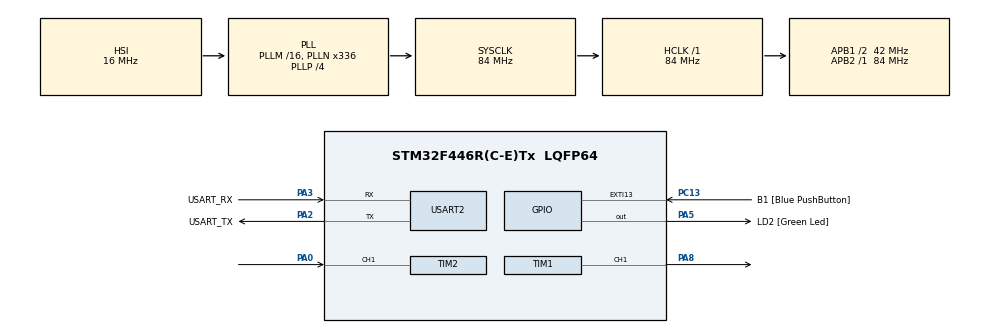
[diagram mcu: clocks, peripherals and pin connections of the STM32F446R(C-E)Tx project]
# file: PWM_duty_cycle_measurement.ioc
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Mcu.Family=STM32F4
Mcu.Name=STM32F446R(C-E)Tx
Mcu.Package=LQFP64
NVIC.PriorityGroup=NVIC_PRIORITYGROUP_0
NVIC.TIM2_IRQn=true\:0\:0\:false\:false\:true\:true\:true\:true
PA0-WKUP.Signal=S_TIM2_CH1_ETR
PA13.GPIO_Label=TMS
PA13.Mode=Serial_Wire
PA13.Signal=SYS_JTMS-SWDIO
PA14.GPIO_Label=TCK
PA14.Mode=Serial_Wire
PA14.Signal=SYS_JTCK-SWCLK
PA2.GPIO_Label=USART_TX
PA2.Mode=Asynchronous
PA2.Signal=USART2_TX
PA3.GPIO_Label=USART_RX
PA3.Mode=Asynchronous
PA3.Signal=USART2_RX
PA5.GPIO_Label=LD2 [Green Led]
PA5.Signal=GPIO_Output
PA8.Signal=S_TIM1_CH1
PB3.GPIO_Label=SWO
PB3.Signal=SYS_JTDO-SWO
PC13.GPIO_Label=B1 [Blue PushButton]
PC13.GPIO_ModeDefaultEXTI=GPIO_MODE_IT_FALLING
PC13.Signal=GPXTI13
PC14-OSC32_IN.Mode=LSE-External-Oscillator
PC14-OSC32_IN.Signal=RCC_OSC32_IN
PC15-OSC32_OUT.Mode=LSE-External-Oscillator
PC15-OSC32_OUT.Signal=RCC_OSC32_OUT
PH0-OSC_IN.Mode=HSE-External-Oscillator
PH0-OSC_IN.Signal=RCC_OSC_IN
PH1-OSC_OUT.Mode=HSE-External-Oscillator
PH1-OSC_OUT.Signal=RCC_OSC_OUT
ProjectManager.HeapSize=0x200
ProjectManager.StackSize=0x400
ProjectManager.TargetToolchain=STM32CubeIDE
RCC.48MHZClocksFreq_Value=84000000
RCC.AHBFreq_Value=84000000
RCC.APB1CLKDivider=RCC_HCLK_DIV2
RCC.APB1Freq_Value=42000000
RCC.APB1TimFreq_Value=84000000
RCC.APB2Freq_Value=84000000
RCC.APB2TimFreq_Value=84000000
RCC.CortexFreq_Value=84000000
RCC.FLatency-AdvancedSettings=FLASH_LATENCY_2
RCC.HCLKFreq_Value=84000000
RCC.HSE_VALUE=8000000
RCC.HSI_VALUE=16000000
RCC.PLLN=336
RCC.PLLP=RCC_PLLP_DIV4
RCC.SYSCLKFreq_VALUE=84000000
RCC.SYSCLKSource=RCC_SYSCLKSOURCE_PLLCLK
RCC.USBFreq_Value=168000000
RCC.VCOOutputFreq_Value=336000000
SH.S_TIM1_CH1.0=TIM1_CH1,PWM Generation1 CH1
SH.S_TIM2_CH1_ETR.0=TIM2_CH1,PWM_Input_1
TIM1.Channel-PWM\ Generation1\ CH1=TIM_CHANNEL_1
TIM1.Period=839
TIM1.Prescaler=9999
TIM1.Pulse-PWM\ Generation1\ CH1=420
USART2.VirtualMode=VM_ASYNC
VP_TIM2_VS_ClockSourceINT.Mode=Internal
board=NUCLEO-F446RE

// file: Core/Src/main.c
/* USER CODE BEGIN Header */
/**
  ******************************************************************************
  * @file           : main.c
  * @brief          : Main program body
  ******************************************************************************
  * @attention
  *
  * Copyright (c) 2025 STMicroelectronics.
  * All rights reserved.
  *
  * This software is licensed under terms that can be found in the LICENSE file
  * in the root directory of this software component.
  * If no LICENSE file comes with this software, it is provided AS-IS.
  *
  ******************************************************************************
  */
/* USER CODE END Header */
#include "main.h"

/* USER CODE BEGIN Includes */

#include <stdio.h>

/* USER CODE END Includes */

TIM_HandleTypeDef htim1;
TIM_HandleTypeDef htim2;

UART_HandleTypeDef huart2;

/* USER CODE BEGIN PV */

uint32_t IC_ch1 = 0;
uint32_t IC_ch2 = 0;
float duty_cycle;
float Frequency;

int len;
char buffer[64];

/* USER CODE END PV */

void SystemClock_Config(void);
static void MX_GPIO_Init(void);
static void MX_USART2_UART_Init(void);
static void MX_TIM1_Init(void);
static void MX_TIM2_Init(void);

int main(void)
{

  /* MCU Configuration--------------------------------------------------------*/

  /* Reset of all peripherals, Initializes the Flash interface and the Systick. */
  HAL_Init();

  /* Configure the system clock */
  SystemClock_Config();

  /* Initialize all configured peripherals */
  MX_GPIO_Init();
  MX_USART2_UART_Init();
  MX_TIM1_Init();
  MX_TIM2_Init();
  /* USER CODE BEGIN 2 */

  HAL_TIM_IC_Start_IT(&htim2, TIM_CHANNEL_1); // starting IC in interrupt mode for ch1
  HAL_TIM_IC_Start(&htim2, TIM_CHANNEL_2); // starting IC for ch2

  HAL_TIM_PWM_Start(&htim1, TIM_CHANNEL_1); // generating PWM signal

  /* USER CODE END 2 */

  /* Infinite loop */
  while (1)
  {

    /* USER CODE BEGIN 3 */

	  len = sprintf(buffer, "Duty Cycle: %.2f (%%)\n\r"
			  "Frequency: %.2f (Hz)\n\r", duty_cycle, Frequency);
	  HAL_UART_Transmit(&huart2, (uint8_t*)buffer, len, HAL_MAX_DELAY);

  }
  /* USER CODE END 3 */
}

void SystemClock_Config(void)
{
  RCC_OscInitTypeDef RCC_OscInitStruct = {0};
  RCC_ClkInitTypeDef RCC_ClkInitStruct = {0};

  /** Configure the main internal regulator output voltage
  */
  __HAL_RCC_PWR_CLK_ENABLE();
  __HAL_PWR_VOLTAGESCALING_CONFIG(PWR_REGULATOR_VOLTAGE_SCALE3);

  /** Initializes the RCC Oscillators according to the specified parameters
  * in the RCC_OscInitTypeDef structure.
  */
  RCC_OscInitStruct.OscillatorType = RCC_OSCILLATORTYPE_HSI;
  RCC_OscInitStruct.HSIState = RCC_HSI_ON;
  RCC_OscInitStruct.HSICalibrationValue = RCC_HSICALIBRATION_DEFAULT;
  RCC_OscInitStruct.PLL.PLLState = RCC_PLL_ON;
  RCC_OscInitStruct.PLL.PLLSource = RCC_PLLSOURCE_HSI;
  RCC_OscInitStruct.PLL.PLLM = 16;
  RCC_OscInitStruct.PLL.PLLN = 336;
  RCC_OscInitStruct.PLL.PLLP = RCC_PLLP_DIV4;
  RCC_OscInitStruct.PLL.PLLQ = 2;
  RCC_OscInitStruct.PLL.PLLR = 2;
  if (HAL_RCC_OscConfig(&RCC_OscInitStruct) != HAL_OK)
  {
    Error_Handler();
  }

  /** Initializes the CPU, AHB and APB buses clocks
  */
  RCC_ClkInitStruct.ClockType = RCC_CLOCKTYPE_HCLK|RCC_CLOCKTYPE_SYSCLK
                              |RCC_CLOCKTYPE_PCLK1|RCC_CLOCKTYPE_PCLK2;
  RCC_ClkInitStruct.SYSCLKSource = RCC_SYSCLKSOURCE_PLLCLK;
  RCC_ClkInitStruct.AHBCLKDivider = RCC_SYSCLK_DIV1;
  RCC_ClkInitStruct.APB1CLKDivider = RCC_HCLK_DIV2;
  RCC_ClkInitStruct.APB2CLKDivider = RCC_HCLK_DIV1;

  if (HAL_RCC_ClockConfig(&RCC_ClkInitStruct, FLASH_LATENCY_2) != HAL_OK)
  {
    Error_Handler();
  }
}

static void MX_TIM1_Init(void)
{

  TIM_MasterConfigTypeDef sMasterConfig = {0};
  TIM_OC_InitTypeDef sConfigOC = {0};
  TIM_BreakDeadTimeConfigTypeDef sBreakDeadTimeConfig = {0};

  htim1.Instance = TIM1;
  htim1.Init.Prescaler = 9999;
  htim1.Init.CounterMode = TIM_COUNTERMODE_UP;
  htim1.Init.Period = 839;
  htim1.Init.ClockDivision = TIM_CLOCKDIVISION_DIV1;
  htim1.Init.RepetitionCounter = 0;
  htim1.Init.AutoReloadPreload = TIM_AUTORELOAD_PRELOAD_DISABLE;
  if (HAL_TIM_PWM_Init(&htim1) != HAL_OK)
  {
    Error_Handler();
  }
  sMasterConfig.MasterOutputTrigger = TIM_TRGO_RESET;
  sMasterConfig.MasterSlaveMode = TIM_MASTERSLAVEMODE_DISABLE;
  if (HAL_TIMEx_MasterConfigSynchronization(&htim1, &sMasterConfig) != HAL_OK)
  {
    Error_Handler();
  }
  sConfigOC.OCMode = TIM_OCMODE_PWM1;
  sConfigOC.Pulse = 420;
  sConfigOC.OCPolarity = TIM_OCPOLARITY_HIGH;
  sConfigOC.OCNPolarity = TIM_OCNPOLARITY_HIGH;
  sConfigOC.OCFastMode = TIM_OCFAST_DISABLE;
  sConfigOC.OCIdleState = TIM_OCIDLESTATE_RESET;
  sConfigOC.OCNIdleState = TIM_OCNIDLESTATE_RESET;
  if (HAL_TIM_PWM_ConfigChannel(&htim1, &sConfigOC, TIM_CHANNEL_1) != HAL_OK)
  {
    Error_Handler();
  }
  sBreakDeadTimeConfig.OffStateRunMode = TIM_OSSR_DISABLE;
  sBreakDeadTimeConfig.OffStateIDLEMode = TIM_OSSI_DISABLE;
  sBreakDeadTimeConfig.LockLevel = TIM_LOCKLEVEL_OFF;
  sBreakDeadTimeConfig.DeadTime = 0;
  sBreakDeadTimeConfig.BreakState = TIM_BREAK_DISABLE;
  sBreakDeadTimeConfig.BreakPolarity = TIM_BREAKPOLARITY_HIGH;
  sBreakDeadTimeConfig.AutomaticOutput = TIM_AUTOMATICOUTPUT_DISABLE;
  if (HAL_TIMEx_ConfigBreakDeadTime(&htim1, &sBreakDeadTimeConfig) != HAL_OK)
  {
    Error_Handler();
  }
  HAL_TIM_MspPostInit(&htim1);

}

static void MX_TIM2_Init(void)
{

  TIM_ClockConfigTypeDef sClockSourceConfig = {0};
  TIM_SlaveConfigTypeDef sSlaveConfig = {0};
  TIM_IC_InitTypeDef sConfigIC = {0};
  TIM_MasterConfigTypeDef sMasterConfig = {0};

  htim2.Instance = TIM2;
  htim2.Init.Prescaler = 0;
  htim2.Init.CounterMode = TIM_COUNTERMODE_UP;
  htim2.Init.Period = 4294967295;
  htim2.Init.ClockDivision = TIM_CLOCKDIVISION_DIV1;
  htim2.Init.AutoReloadPreload = TIM_AUTORELOAD_PRELOAD_DISABLE;
  if (HAL_TIM_Base_Init(&htim2) != HAL_OK)
  {
    Error_Handler();
  }
  sClockSourceConfig.ClockSource = TIM_CLOCKSOURCE_INTERNAL;
  if (HAL_TIM_ConfigClockSource(&htim2, &sClockSourceConfig) != HAL_OK)
  {
    Error_Handler();
  }
  if (HAL_TIM_IC_Init(&htim2) != HAL_OK)
  {
    Error_Handler();
  }
  sSlaveConfig.SlaveMode = TIM_SLAVEMODE_RESET;
  sSlaveConfig.InputTrigger = TIM_TS_TI1FP1;
  sSlaveConfig.TriggerPolarity = TIM_INPUTCHANNELPOLARITY_RISING;
  sSlaveConfig.TriggerPrescaler = TIM_ICPSC_DIV1;
  sSlaveConfig.TriggerFilter = 0;
  if (HAL_TIM_SlaveConfigSynchro(&htim2, &sSlaveConfig) != HAL_OK)
  {
    Error_Handler();
  }
  sConfigIC.ICPolarity = TIM_INPUTCHANNELPOLARITY_RISING;
  sConfigIC.ICSelection = TIM_ICSELECTION_DIRECTTI;
  sConfigIC.ICPrescaler = TIM_ICPSC_DIV1;
  sConfigIC.ICFilter = 0;
  if (HAL_TIM_IC_ConfigChannel(&htim2, &sConfigIC, TIM_CHANNEL_1) != HAL_OK)
  {
    Error_Handler();
  }
  sConfigIC.ICPolarity = TIM_INPUTCHANNELPOLARITY_FALLING;
  sConfigIC.ICSelection = TIM_ICSELECTION_INDIRECTTI;
  if (HAL_TIM_IC_ConfigChannel(&htim2, &sConfigIC, TIM_CHANNEL_2) != HAL_OK)
  {
    Error_Handler();
  }
  sMasterConfig.MasterOutputTrigger = TIM_TRGO_RESET;
  sMasterConfig.MasterSlaveMode = TIM_MASTERSLAVEMODE_DISABLE;
  if (HAL_TIMEx_MasterConfigSynchronization(&htim2, &sMasterConfig) != HAL_OK)
  {
    Error_Handler();
  }

}

static void MX_USART2_UART_Init(void)
{

  huart2.Instance = USART2;
  huart2.Init.BaudRate = 115200;
  huart2.Init.WordLength = UART_WORDLENGTH_8B;
  huart2.Init.StopBits = UART_STOPBITS_1;
  huart2.Init.Parity = UART_PARITY_NONE;
  huart2.Init.Mode = UART_MODE_TX_RX;
  huart2.Init.HwFlowCtl = UART_HWCONTROL_NONE;
  huart2.Init.OverSampling = UART_OVERSAMPLING_16;
  if (HAL_UART_Init(&huart2) != HAL_OK)
  {
    Error_Handler();
  }

}

static void MX_GPIO_Init(void)
{
  GPIO_InitTypeDef GPIO_InitStruct = {0};

  /* GPIO Ports Clock Enable */
  __HAL_RCC_GPIOC_CLK_ENABLE();
  __HAL_RCC_GPIOH_CLK_ENABLE();
  __HAL_RCC_GPIOA_CLK_ENABLE();
  __HAL_RCC_GPIOB_CLK_ENABLE();

  /*Configure GPIO pin Output Level */
  HAL_GPIO_WritePin(LD2_GPIO_Port, LD2_Pin, GPIO_PIN_RESET);

  /*Configure GPIO pin : B1_Pin */
  GPIO_InitStruct.Pin = B1_Pin;
  GPIO_InitStruct.Mode = GPIO_MODE_IT_FALLING;
  GPIO_InitStruct.Pull = GPIO_NOPULL;
  HAL_GPIO_Init(B1_GPIO_Port, &GPIO_InitStruct);

  /*Configure GPIO pin : LD2_Pin */
  GPIO_InitStruct.Pin = LD2_Pin;
  GPIO_InitStruct.Mode = GPIO_MODE_OUTPUT_PP;
  GPIO_InitStruct.Pull = GPIO_NOPULL;
  GPIO_InitStruct.Speed = GPIO_SPEED_FREQ_LOW;
  HAL_GPIO_Init(LD2_GPIO_Port, &GPIO_InitStruct);

}

/* USER CODE BEGIN 4 */

void HAL_TIM_IC_CaptureCallback(TIM_HandleTypeDef *htim)
{
	if (htim->Channel == HAL_TIM_ACTIVE_CHANNEL_1) // If the interrupt is triggered by channel 1
	{
		// Read the IC value
		IC_ch1 = HAL_TIM_ReadCapturedValue(htim, TIM_CHANNEL_1);

		if (IC_ch1 != 0)
		{
			IC_ch2 = HAL_TIM_ReadCapturedValue(htim, TIM_CHANNEL_2);
			duty_cycle = ((float)IC_ch2/(float)IC_ch1)*100;
			Frequency = 84000000.0/(float)IC_ch1;
		}
	}
}

/* USER CODE END 4 */

void Error_Handler(void)
{
  __disable_irq();
  while (1)
  {
  }
}
